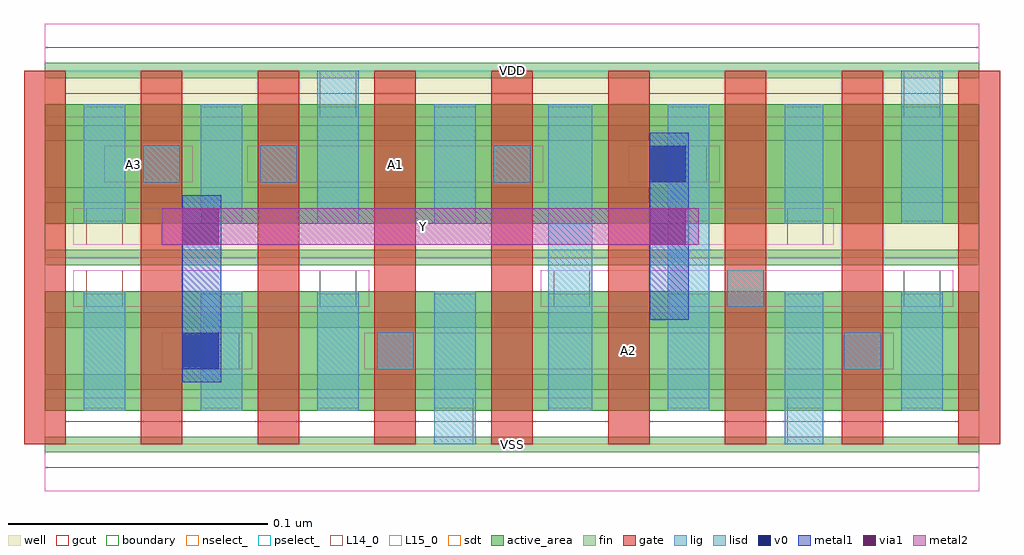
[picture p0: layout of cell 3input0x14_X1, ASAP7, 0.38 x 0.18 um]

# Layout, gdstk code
import gdstk
lib = gdstk.Library(unit=1e-6, precision=1e-09)
def R(c, l, rs):  # rectangles x0, y0, x1, y1
    for r in rs: c.add(gdstk.rectangle(r[:2], r[2:], *l))
def A(c, l, x, y, w, h, nx, ny, dx, dy):  # array of equal rectangles
    R(c, l, [(x+i*dx, y+j*dy, x+i*dx+w, y+j*dy+h) for i in range(nx) for j in range(ny)])
def P(c, l, *ps):  # polygons
    for p in ps: c.add(gdstk.Polygon(p, *l))
well = (1, 0)
fin = (2, 0)
gate = (7, 0)
gcut = (10, 0)
active_area = (11, 0)
nselect_ = (12, 0)
pselect_ = (13, 0)
L14_0 = (14, 0)
L15_0 = (15, 0)
lig = (16, 0)
lisd = (17, 0)
v0 = (18, 0)
metal1 = (19, 0)
metal2 = (20, 0)
via1 = (21, 0)
sdt = (88, 0)
boundary = (100, 0)

c_3input0x14_x1 = lib.new_cell('3input0x14_X1')
R(c_3input0x14_x1, well, [(0,0.072,0.36,0.144)])
A(c_3input0x14_x1, fin, 0, -0.003, 0.36, 0.006, 1, 7, 0, 0.024)
A(c_3input0x14_x1, gate, -0.008, 0, 0.016, 0.144, 9, 1, 0.045, 0)
P(c_3input0x14_x1, gcut, [(0,-0.009),(0,0),(-0.008,0),(-0.008,0.135),(0.008,0.135),(0.008,0.009),(0.217,0.009),(0.217,0.135),(0.233,0.135),(0.233,0.009),(0.352,0.009),(0.352,0.135),(-0.008,0.135),(-0.008,0.144),(0,0.144),(0,0.153),(0.36,0.153),(0.36,0.144),(0.368,0.144),(0.368,0),(0.36,0),(0.36,-0.009)])
R(c_3input0x14_x1, active_area, [(0,0.013,0.36,0.059), (0,0.085,0.36,0.131)])
R(c_3input0x14_x1, nselect_, [(0,0,0.36,0.072)])
R(c_3input0x14_x1, pselect_, [(0,0.072,0.36,0.144)])
A(c_3input0x14_x1, L14_0, 0.016, 0.053, 0.014, 0.014, 3, 1, 0.09, 0)
R(c_3input0x14_x1, L14_0, [(0.15,0,0.165,0.018), (0.286,0,0.3,0.018), (0.061,0.029,0.075,0.043), (0.128,0.029,0.142,0.043), (0.308,0.029,0.322,0.043), (0.263,0.053,0.277,0.067), (0.331,0.053,0.345,0.067), (0.016,0.077,0.03,0.091), (0.286,0.077,0.3,0.091), (0.038,0.101,0.052,0.115), (0.083,0.101,0.097,0.115), (0.173,0.101,0.187,0.115), (0.241,0.101,0.255,0.115), (0.106,0.126,0.12,0.144), (0.331,0.126,0.345,0.144)])
R(c_3input0x14_x1, L15_0, [(0,-0.018,0.36,0.018), (0.045,0.029,0.08,0.043), (0.123,0.029,0.327,0.043), (0.011,0.053,0.125,0.067), (0.191,0.053,0.35,0.067), (0.011,0.077,0.304,0.091), (0.023,0.101,0.057,0.115), (0.078,0.101,0.192,0.115), (0.225,0.101,0.26,0.115), (0,0.126,0.36,0.162)])
R(c_3input0x14_x1, lig, [(0.128,0.029,0.142,0.043), (0.308,0.029,0.322,0.043), (0.263,0.053,0.277,0.067), (0.038,0.101,0.052,0.115), (0.083,0.101,0.097,0.115), (0.173,0.101,0.187,0.115)])
A(c_3input0x14_x1, lisd, 0.015, 0.013, 0.016, 0.046, 3, 1, 0.045, 0)
R(c_3input0x14_x1, lisd, [(0.15,0,0.166,0.059), (0.285,0,0.3,0.059), (0.194,0.013,0.211,0.131), (0.24,0.013,0.256,0.131), (0.33,0.013,0.346,0.059), (0.015,0.085,0.031,0.131), (0.06,0.085,0.076,0.131), (0.105,0.085,0.121,0.144), (0.15,0.085,0.166,0.131), (0.285,0.085,0.3,0.131), (0.33,0.085,0.346,0.144)])
R(c_3input0x14_x1, v0, [(0.053,0.029,0.067,0.043), (0.233,0.101,0.247,0.115)])
R(c_3input0x14_x1, metal1, [(0.053,0.024,0.068,0.096), (0.233,0.048,0.248,0.12)])
R(c_3input0x14_x1, metal2, [(0.045,0.077,0.252,0.091)])
R(c_3input0x14_x1, via1, [(0.053,0.077,0.067,0.091), (0.233,0.077,0.247,0.091)])
A(c_3input0x14_x1, sdt, 0.015, 0.014, 0.016, 0.044, 4, 2, 0.045, 0.072)
R(c_3input0x14_x1, sdt, [(0.194,0.014,0.211,0.058), (0.24,0.014,0.256,0.058), (0.285,0.014,0.3,0.058), (0.33,0.014,0.346,0.058), (0.194,0.086,0.211,0.13), (0.24,0.086,0.256,0.13), (0.285,0.086,0.3,0.13), (0.33,0.086,0.346,0.13)])
R(c_3input0x14_x1, boundary, [(0,0,0.36,0.144)])
c_3input0x14_x1.add(gdstk.Label('A3', (0.034,0.108), layer=15, texttype=251))
c_3input0x14_x1.add(gdstk.Label('VSS', (0.18,0), layer=15, texttype=251))
c_3input0x14_x1.add(gdstk.Label('VDD', (0.18,0.144), layer=15, texttype=251))
c_3input0x14_x1.add(gdstk.Label('A2', (0.225,0.036), layer=15, texttype=251))
c_3input0x14_x1.add(gdstk.Label('VSS', (0.18,0), layer=15, texttype=251))
c_3input0x14_x1.add(gdstk.Label('VDD', (0.18,0.144), layer=15, texttype=251))
c_3input0x14_x1.add(gdstk.Label('A1', (0.135,0.108), layer=15, texttype=251))
c_3input0x14_x1.add(gdstk.Label('VSS', (0.18,0), layer=15, texttype=251))
c_3input0x14_x1.add(gdstk.Label('VDD', (0.18,0.144), layer=15, texttype=251))
c_3input0x14_x1.add(gdstk.Label('VSS', (0.18,0), layer=15, texttype=251))
c_3input0x14_x1.add(gdstk.Label('VDD', (0.18,0.144), layer=15, texttype=251))
c_3input0x14_x1.add(gdstk.Label('VSS', (0.18,0), layer=3, texttype=251))
c_3input0x14_x1.add(gdstk.Label('VSS', (0.18,0), layer=3, texttype=251))
c_3input0x14_x1.add(gdstk.Label('VSS', (0.18,0), layer=3, texttype=251))
c_3input0x14_x1.add(gdstk.Label('VSS', (0.18,0), layer=3, texttype=251))
c_3input0x14_x1.add(gdstk.Label('VDD', (0.18,0.144), layer=1, texttype=251))
c_3input0x14_x1.add(gdstk.Label('VDD', (0.18,0.144), layer=1, texttype=251))
c_3input0x14_x1.add(gdstk.Label('VDD', (0.18,0.144), layer=1, texttype=251))
c_3input0x14_x1.add(gdstk.Label('VDD', (0.18,0.144), layer=1, texttype=251))
c_3input0x14_x1.add(gdstk.Label('Y', (0.146,0.084), layer=20, texttype=251))

lib.write_gds('3input0x14_X1.gds')
